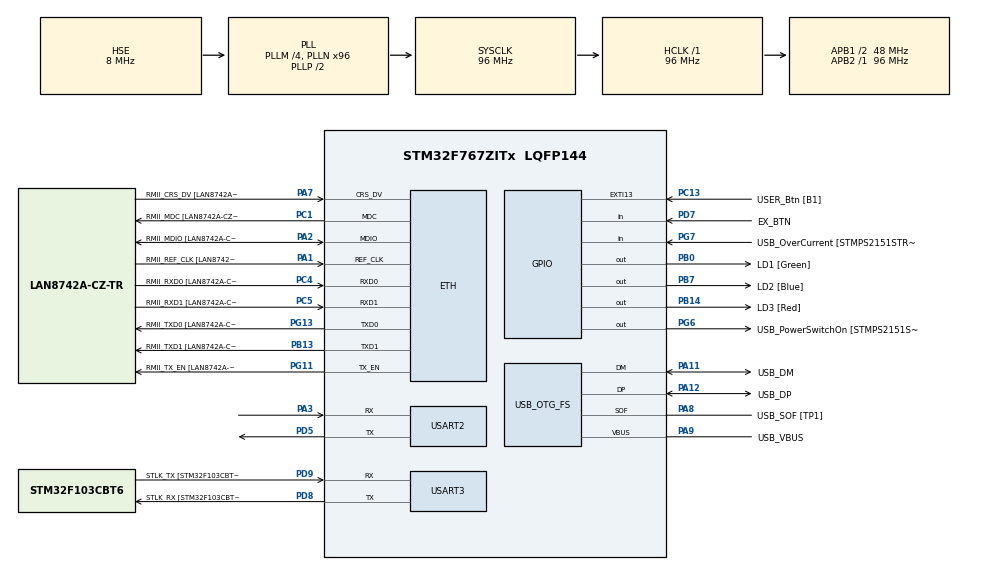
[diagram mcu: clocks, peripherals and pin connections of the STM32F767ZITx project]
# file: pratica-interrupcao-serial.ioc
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CORTEX_M7.default_mode_Activation=1
ETH.MediaInterface=HAL_ETH_RMII_MODE
ETH.PHY_Name=LAN8742A_PHY_ADDRESS
ETH.PHY_Value=0
ETH.PhyAddress=0
Mcu.Family=STM32F7
Mcu.Name=STM32F767ZITx
Mcu.Package=LQFP144
NVIC.PriorityGroup=NVIC_PRIORITYGROUP_4
PA1.GPIO_Label=RMII_REF_CLK [LAN8742A-CZ-TR_REFCLK0]
PA1.Mode=RMII
PA1.Signal=ETH_REF_CLK
PA10.GPIO_Label=USB_ID
PA10.Signal=USB_OTG_FS_ID
PA11.GPIO_Label=USB_DM
PA11.Mode=Device_Only
PA11.Signal=USB_OTG_FS_DM
PA12.GPIO_Label=USB_DP
PA12.Mode=Device_Only
PA12.Signal=USB_OTG_FS_DP
PA13.GPIO_Label=TMS
PA13.Mode=Serial_Wire
PA13.Signal=SYS_JTMS-SWDIO
PA14.GPIO_Label=TCK
PA14.Mode=Serial_Wire
PA14.Signal=SYS_JTCK-SWCLK
PA2.GPIO_Label=RMII_MDIO [LAN8742A-CZ-TR_MDIO]
PA2.Mode=RMII
PA2.Signal=ETH_MDIO
PA3.Mode=Asynchronous
PA3.Signal=USART2_RX
PA7.GPIO_Label=RMII_CRS_DV [LAN8742A-CZ-TR_CRS_DV]
PA7.Mode=RMII
PA7.Signal=ETH_CRS_DV
PA8.GPIO_Label=USB_SOF [TP1]
PA8.Mode=Activate_SOF_FS
PA8.Signal=USB_OTG_FS_SOF
PA9.GPIO_Label=USB_VBUS
PA9.Mode=Activate_VBUS
PA9.Signal=USB_OTG_FS_VBUS
PB0.GPIO_Label=LD1 [Green]
PB0.Signal=GPIO_Output
PB13.GPIO_Label=RMII_TXD1 [LAN8742A-CZ-TR_TXD1]
PB13.Mode=RMII
PB13.Signal=ETH_TXD1
PB14.GPIO_Label=LD3 [Red]
PB14.Signal=GPIO_Output
PB3.GPIO_Label=SWO
PB3.Signal=SYS_JTDO-SWO
PB7.GPIO_Label=LD2 [Blue]
PB7.Signal=GPIO_Output
PC1.GPIO_Label=RMII_MDC [LAN8742A-CZ-TR_MDC]
PC1.Mode=RMII
PC1.Signal=ETH_MDC
PC13.GPIO_Label=USER_Btn [B1]
PC13.Signal=GPXTI13
PC14/OSC32_IN.Mode=LSE-External-Oscillator
PC14/OSC32_IN.Signal=RCC_OSC32_IN
PC15/OSC32_OUT.Mode=LSE-External-Oscillator
PC15/OSC32_OUT.Signal=RCC_OSC32_OUT
PC4.GPIO_Label=RMII_RXD0 [LAN8742A-CZ-TR_RXD0]
PC4.Mode=RMII
PC4.Signal=ETH_RXD0
PC5.GPIO_Label=RMII_RXD1 [LAN8742A-CZ-TR_RXD1]
PC5.Mode=RMII
PC5.Signal=ETH_RXD1
PD5.Mode=Asynchronous
PD5.Signal=USART2_TX
PD7.GPIO_Label=EX_BTN
PD7.GPIO_PuPd=GPIO_PULLUP
PD7.Signal=GPIO_Input
PD8.GPIO_Label=STLK_RX [STM32F103CBT6_PA3]
PD8.Mode=Asynchronous
PD8.Signal=USART3_TX
PD9.GPIO_Label=STLK_TX [STM32F103CBT6_PA2]
PD9.Mode=Asynchronous
PD9.Signal=USART3_RX
PG11.GPIO_Label=RMII_TX_EN [LAN8742A-CZ-TR_TXEN]
PG11.Mode=RMII
PG11.Signal=ETH_TX_EN
PG13.GPIO_Label=RMII_TXD0 [LAN8742A-CZ-TR_TXD0]
PG13.Mode=RMII
PG13.Signal=ETH_TXD0
PG6.GPIO_Label=USB_PowerSwitchOn [STMPS2151STR_EN]
PG6.Signal=GPIO_Output
PG7.GPIO_Label=USB_OverCurrent [STMPS2151STR_FAULT]
PG7.Signal=GPIO_Input
PH0/OSC_IN.GPIO_Label=MCO [STM32F103CBT6_PA8]
PH0/OSC_IN.Mode=HSE-External-Clock-Source
PH0/OSC_IN.Signal=RCC_OSC_IN
PH1/OSC_OUT.Mode=HSE-External-Clock-Source
PH1/OSC_OUT.Signal=RCC_OSC_OUT
ProjectManager.HeapSize=0x200
ProjectManager.StackSize=0x400
ProjectManager.TargetToolchain=STM32CubeIDE
RCC.48MHZClocksFreq_Value=24000000
RCC.AHBFreq_Value=96000000
RCC.APB1CLKDivider=RCC_HCLK_DIV2
RCC.APB1Freq_Value=48000000
RCC.APB1TimFreq_Value=96000000
RCC.APB2Freq_Value=96000000
RCC.APB2TimFreq_Value=96000000
RCC.CortexFreq_Value=96000000
RCC.HCLKFreq_Value=96000000
RCC.HSE_VALUE=8000000
RCC.HSI_VALUE=16000000
RCC.PLLM=4
RCC.PLLMUL=RCC_PLL_MUL9
RCC.PLLN=96
RCC.PLLQ=4
RCC.PRESCALERUSB=RCC_USBCLKSOURCE_PLL_DIV1_5
RCC.SYSCLKFreq_VALUE=96000000
RCC.SYSCLKSource=RCC_SYSCLKSOURCE_PLLCLK
RCC.SYSCLKSourceVirtual=RCC_SYSCLKSOURCE_PLLCLK
RCC.USBFreq_Value=48000000
RCC.VCOOutputFreq_Value=192000000
USART2.VirtualMode-Asynchronous=VM_ASYNC
USART3.VirtualMode-Asynchronous=VM_ASYNC
USB_OTG_FS.VirtualMode=Device_Only
board=NUCLEO-F767ZI

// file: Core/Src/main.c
/* USER CODE BEGIN Header */
/**
  ******************************************************************************
  * @file           : main.c
  * @brief          : Main program body
  ******************************************************************************
  * @attention
  *
  * Copyright (c) 2026 STMicroelectronics.
  * All rights reserved.
  *
  * This software is licensed under terms that can be found in the LICENSE file
  * in the root directory of this software component.
  * If no LICENSE file comes with this software, it is provided AS-IS.
  *
  ******************************************************************************
  */
/* USER CODE END Header */
#include "main.h"
#include "string.h"

/* USER CODE BEGIN Includes */
#include "serial_protocol.h"
/* USER CODE END Includes */

#if defined ( __ICCARM__ ) /*!< IAR Compiler */
#pragma location=0x2007c000
ETH_DMADescTypeDef  DMARxDscrTab[ETH_RX_DESC_CNT]; /* Ethernet Rx DMA Descriptors */
#pragma location=0x2007c0a0
ETH_DMADescTypeDef  DMATxDscrTab[ETH_TX_DESC_CNT]; /* Ethernet Tx DMA Descriptors */

#elif defined ( __CC_ARM )  /* MDK ARM Compiler */

__attribute__((at(0x2007c000))) ETH_DMADescTypeDef  DMARxDscrTab[ETH_RX_DESC_CNT]; /* Ethernet Rx DMA Descriptors */
__attribute__((at(0x2007c0a0))) ETH_DMADescTypeDef  DMATxDscrTab[ETH_TX_DESC_CNT]; /* Ethernet Tx DMA Descriptors */

#elif defined ( __GNUC__ ) /* GNU Compiler */

ETH_DMADescTypeDef DMARxDscrTab[ETH_RX_DESC_CNT] __attribute__((section(".RxDecripSection"))); /* Ethernet Rx DMA Descriptors */
ETH_DMADescTypeDef DMATxDscrTab[ETH_TX_DESC_CNT] __attribute__((section(".TxDecripSection")));   /* Ethernet Tx DMA Descriptors */
#endif

ETH_TxPacketConfig TxConfig;

ETH_HandleTypeDef heth;

UART_HandleTypeDef huart2;
UART_HandleTypeDef huart3;

PCD_HandleTypeDef hpcd_USB_OTG_FS;

void SystemClock_Config(void);
static void MPU_Config(void);
static void MX_GPIO_Init(void);
static void MX_ETH_Init(void);
static void MX_USART3_UART_Init(void);
static void MX_USB_OTG_FS_PCD_Init(void);
static void MX_USART2_UART_Init(void);
/* USER CODE BEGIN PFP */
uint8_t envia_cmd(uint8_t dado);
/* USER CODE END PFP */

int main(void)
{

  /* MPU Configuration--------------------------------------------------------*/
  MPU_Config();

  /* MCU Configuration--------------------------------------------------------*/

  /* Reset of all peripherals, Initializes the Flash interface and the Systick. */
  HAL_Init();

  /* Configure the system clock */
  SystemClock_Config();

  /* Initialize all configured peripherals */
  MX_GPIO_Init();
  MX_ETH_Init();
  MX_USART3_UART_Init();
  MX_USB_OTG_FS_PCD_Init();
  MX_USART2_UART_Init();
  /* USER CODE BEGIN 2 */
  // Variaveis para guardar o estado dos botoes (0 = solto, 1 = pressionado)
  uint8_t estado_btn_user = 0;
  uint8_t estado_btn_ext = 0;

  // Variaveis para guardar a referencia de tempo (ms) para debounce nao-bloqueante
  uint32_t tempo_btn_user = 0;
  uint32_t tempo_btn_ext = 0;
  /* USER CODE END 2 */

  /* Infinite loop */
  /* USER CODE BEGIN WHILE */
  while (1)
  {
    // Limpa a flag de Overrun Error se tiver ocorrido (evita travamento de recepcao da USART)
    if (__HAL_UART_GET_FLAG(&huart2, UART_FLAG_ORE))
    {
        __HAL_UART_CLEAR_OREFLAG(&huart2);
    }

    // 1. Recebimento Serial USART2 (via flag RXNE, sem interrupcao)
    if (__HAL_UART_GET_FLAG(&huart2, UART_FLAG_RXNE))
    {
        uint8_t recebido = (uint8_t)(huart2.Instance->RDR & 0xFF);
        uint8_t ack = 0;
        ProtocolAction action = process_received_byte(recebido, &ack);

        if (action == ACTION_TOGGLE_LD1)
        {
            // Envia byte de ACK de volta
            HAL_UART_Transmit(&huart2, &ack, 1, 10);
            // Alterna LD1 (Verde)
            HAL_GPIO_TogglePin(LD1_GPIO_Port, LD1_Pin);
        }
        else if (action == ACTION_TOGGLE_LD2)
        {
            // Envia byte de ACK de volta
            HAL_UART_Transmit(&huart2, &ack, 1, 10);
            // Alterna LD2 (Azul)
            HAL_GPIO_TogglePin(LD2_GPIO_Port, LD2_Pin);
        }
    }

    // 2. Verifica o Botao de Usuario (PC13 - ALTO quando pressionado)
    if (HAL_GPIO_ReadPin(USER_Btn_GPIO_Port, USER_Btn_Pin) == GPIO_PIN_SET)
    {
        if (estado_btn_user == 0 && (HAL_GetTick() - tempo_btn_user > 100))
        {
            estado_btn_user = 1;
            tempo_btn_user = HAL_GetTick();

            if (!envia_cmd(CMD_USER_BTN))
            {
                // FALHA DE HANDSHAKE: Alterna o proprio LD1 local
                HAL_GPIO_TogglePin(LD1_GPIO_Port, LD1_Pin);
            }
        }
    }
    else
    {
        if (estado_btn_user == 1 && (HAL_GetTick() - tempo_btn_user > 100))
        {
            estado_btn_user = 0;
            tempo_btn_user = HAL_GetTick();
        }
    }

    // 3. Verifica o Botao Externo (PD7 / EX_BTN - BAIXO quando pressionado devido ao pull-up)
    if (HAL_GPIO_ReadPin(EX_BTN_GPIO_Port, EX_BTN_Pin) == GPIO_PIN_RESET)
    {
        if (estado_btn_ext == 0 && (HAL_GetTick() - tempo_btn_ext > 100))
        {
            estado_btn_ext = 1;
            tempo_btn_ext = HAL_GetTick();

            if (!envia_cmd(CMD_EXT_BTN))
            {
                // FALHA DE HANDSHAKE: Alterna o proprio LD2 local
                HAL_GPIO_TogglePin(LD2_GPIO_Port, LD2_Pin);
            }
        }
    }
    else
    {
        if (estado_btn_ext == 1 && (HAL_GetTick() - tempo_btn_ext > 100))
        {
            estado_btn_ext = 0;
            tempo_btn_ext = HAL_GetTick();
        }
    }
    /* USER CODE END WHILE */

  }
}

void SystemClock_Config(void)
{
  RCC_OscInitTypeDef RCC_OscInitStruct = {0};
  RCC_ClkInitTypeDef RCC_ClkInitStruct = {0};

  /** Configure LSE Drive Capability
  */
  HAL_PWR_EnableBkUpAccess();

  /** Configure the main internal regulator output voltage
  */
  __HAL_RCC_PWR_CLK_ENABLE();
  __HAL_PWR_VOLTAGESCALING_CONFIG(PWR_REGULATOR_VOLTAGE_SCALE3);

  /** Initializes the RCC Oscillators according to the specified parameters
  * in the RCC_OscInitTypeDef structure.
  */
  RCC_OscInitStruct.OscillatorType = RCC_OSCILLATORTYPE_HSE;
  RCC_OscInitStruct.HSEState = RCC_HSE_BYPASS;
  RCC_OscInitStruct.PLL.PLLState = RCC_PLL_ON;
  RCC_OscInitStruct.PLL.PLLSource = RCC_PLLSOURCE_HSE;
  RCC_OscInitStruct.PLL.PLLM = 4;
  RCC_OscInitStruct.PLL.PLLN = 96;
  RCC_OscInitStruct.PLL.PLLP = RCC_PLLP_DIV2;
  RCC_OscInitStruct.PLL.PLLQ = 4;
  RCC_OscInitStruct.PLL.PLLR = 2;
  if (HAL_RCC_OscConfig(&RCC_OscInitStruct) != HAL_OK)
  {
    Error_Handler();
  }

  /** Activate the Over-Drive mode
  */
  if (HAL_PWREx_EnableOverDrive() != HAL_OK)
  {
    Error_Handler();
  }

  /** Initializes the CPU, AHB and APB buses clocks
  */
  RCC_ClkInitStruct.ClockType = RCC_CLOCKTYPE_HCLK|RCC_CLOCKTYPE_SYSCLK
                              |RCC_CLOCKTYPE_PCLK1|RCC_CLOCKTYPE_PCLK2;
  RCC_ClkInitStruct.SYSCLKSource = RCC_SYSCLKSOURCE_PLLCLK;
  RCC_ClkInitStruct.AHBCLKDivider = RCC_SYSCLK_DIV1;
  RCC_ClkInitStruct.APB1CLKDivider = RCC_HCLK_DIV2;
  RCC_ClkInitStruct.APB2CLKDivider = RCC_HCLK_DIV1;

  if (HAL_RCC_ClockConfig(&RCC_ClkInitStruct, FLASH_LATENCY_3) != HAL_OK)
  {
    Error_Handler();
  }
}

static void MX_ETH_Init(void)
{

   static uint8_t MACAddr[6];

  heth.Instance = ETH;
  MACAddr[0] = 0x00;
  MACAddr[1] = 0x80;
  MACAddr[2] = 0xE1;
  MACAddr[3] = 0x00;
  MACAddr[4] = 0x00;
  MACAddr[5] = 0x00;
  heth.Init.MACAddr = &MACAddr[0];
  heth.Init.MediaInterface = HAL_ETH_RMII_MODE;
  heth.Init.TxDesc = DMATxDscrTab;
  heth.Init.RxDesc = DMARxDscrTab;
  heth.Init.RxBuffLen = 1524;

  if (HAL_ETH_Init(&heth) != HAL_OK)
  {
    Error_Handler();
  }

  memset(&TxConfig, 0 , sizeof(ETH_TxPacketConfig));
  TxConfig.Attributes = ETH_TX_PACKETS_FEATURES_CSUM | ETH_TX_PACKETS_FEATURES_CRCPAD;
  TxConfig.ChecksumCtrl = ETH_CHECKSUM_IPHDR_PAYLOAD_INSERT_PHDR_CALC;
  TxConfig.CRCPadCtrl = ETH_CRC_PAD_INSERT;

}

static void MX_USART2_UART_Init(void)
{

  huart2.Instance = USART2;
  huart2.Init.BaudRate = 115200;
  huart2.Init.WordLength = UART_WORDLENGTH_8B;
  huart2.Init.StopBits = UART_STOPBITS_1;
  huart2.Init.Parity = UART_PARITY_NONE;
  huart2.Init.Mode = UART_MODE_TX_RX;
  huart2.Init.HwFlowCtl = UART_HWCONTROL_NONE;
  huart2.Init.OverSampling = UART_OVERSAMPLING_16;
  huart2.Init.OneBitSampling = UART_ONE_BIT_SAMPLE_DISABLE;
  huart2.AdvancedInit.AdvFeatureInit = UART_ADVFEATURE_NO_INIT;
  if (HAL_UART_Init(&huart2) != HAL_OK)
  {
    Error_Handler();
  }

}

static void MX_USART3_UART_Init(void)
{

  huart3.Instance = USART3;
  huart3.Init.BaudRate = 115200;
  huart3.Init.WordLength = UART_WORDLENGTH_8B;
  huart3.Init.StopBits = UART_STOPBITS_1;
  huart3.Init.Parity = UART_PARITY_NONE;
  huart3.Init.Mode = UART_MODE_TX_RX;
  huart3.Init.HwFlowCtl = UART_HWCONTROL_NONE;
  huart3.Init.OverSampling = UART_OVERSAMPLING_16;
  huart3.Init.OneBitSampling = UART_ONE_BIT_SAMPLE_DISABLE;
  huart3.AdvancedInit.AdvFeatureInit = UART_ADVFEATURE_NO_INIT;
  if (HAL_UART_Init(&huart3) != HAL_OK)
  {
    Error_Handler();
  }

}

static void MX_USB_OTG_FS_PCD_Init(void)
{

  hpcd_USB_OTG_FS.Instance = USB_OTG_FS;
  hpcd_USB_OTG_FS.Init.dev_endpoints = 6;
  hpcd_USB_OTG_FS.Init.speed = PCD_SPEED_FULL;
  hpcd_USB_OTG_FS.Init.dma_enable = DISABLE;
  hpcd_USB_OTG_FS.Init.phy_itface = PCD_PHY_EMBEDDED;
  hpcd_USB_OTG_FS.Init.Sof_enable = ENABLE;
  hpcd_USB_OTG_FS.Init.low_power_enable = DISABLE;
  hpcd_USB_OTG_FS.Init.lpm_enable = DISABLE;
  hpcd_USB_OTG_FS.Init.vbus_sensing_enable = ENABLE;
  hpcd_USB_OTG_FS.Init.use_dedicated_ep1 = DISABLE;
  if (HAL_PCD_Init(&hpcd_USB_OTG_FS) != HAL_OK)
  {
    Error_Handler();
  }

}

static void MX_GPIO_Init(void)
{
  GPIO_InitTypeDef GPIO_InitStruct = {0};

  /* GPIO Ports Clock Enable */
  __HAL_RCC_GPIOC_CLK_ENABLE();
  __HAL_RCC_GPIOH_CLK_ENABLE();
  __HAL_RCC_GPIOA_CLK_ENABLE();
  __HAL_RCC_GPIOB_CLK_ENABLE();
  __HAL_RCC_GPIOD_CLK_ENABLE();
  __HAL_RCC_GPIOG_CLK_ENABLE();

  /*Configure GPIO pin Output Level */
  HAL_GPIO_WritePin(GPIOB, LD1_Pin|LD3_Pin|LD2_Pin, GPIO_PIN_RESET);

  /*Configure GPIO pin Output Level */
  HAL_GPIO_WritePin(USB_PowerSwitchOn_GPIO_Port, USB_PowerSwitchOn_Pin, GPIO_PIN_RESET);

  /*Configure GPIO pin : USER_Btn_Pin */
  GPIO_InitStruct.Pin = USER_Btn_Pin;
  GPIO_InitStruct.Mode = GPIO_MODE_IT_RISING;
  GPIO_InitStruct.Pull = GPIO_NOPULL;
  HAL_GPIO_Init(USER_Btn_GPIO_Port, &GPIO_InitStruct);

  /*Configure GPIO pins : LD1_Pin LD3_Pin LD2_Pin */
  GPIO_InitStruct.Pin = LD1_Pin|LD3_Pin|LD2_Pin;
  GPIO_InitStruct.Mode = GPIO_MODE_OUTPUT_PP;
  GPIO_InitStruct.Pull = GPIO_NOPULL;
  GPIO_InitStruct.Speed = GPIO_SPEED_FREQ_LOW;
  HAL_GPIO_Init(GPIOB, &GPIO_InitStruct);

  /*Configure GPIO pin : USB_PowerSwitchOn_Pin */
  GPIO_InitStruct.Pin = USB_PowerSwitchOn_Pin;
  GPIO_InitStruct.Mode = GPIO_MODE_OUTPUT_PP;
  GPIO_InitStruct.Pull = GPIO_NOPULL;
  GPIO_InitStruct.Speed = GPIO_SPEED_FREQ_LOW;
  HAL_GPIO_Init(USB_PowerSwitchOn_GPIO_Port, &GPIO_InitStruct);

  /*Configure GPIO pin : USB_OverCurrent_Pin */
  GPIO_InitStruct.Pin = USB_OverCurrent_Pin;
  GPIO_InitStruct.Mode = GPIO_MODE_INPUT;
  GPIO_InitStruct.Pull = GPIO_NOPULL;
  HAL_GPIO_Init(USB_OverCurrent_GPIO_Port, &GPIO_InitStruct);

  /*Configure GPIO pin : EX_BTN_Pin */
  GPIO_InitStruct.Pin = EX_BTN_Pin;
  GPIO_InitStruct.Mode = GPIO_MODE_INPUT;
  GPIO_InitStruct.Pull = GPIO_PULLUP;
  HAL_GPIO_Init(EX_BTN_GPIO_Port, &GPIO_InitStruct);

}

/* USER CODE BEGIN 4 */
uint8_t envia_cmd(uint8_t dado)
{
    // Transmite o byte via USART2
    HAL_UART_Transmit(&huart2, &dado, 1, 10);

    // Aguarda o ACK com timeout de 50 ms
    uint32_t start_tick = HAL_GetTick();
    while ((HAL_GetTick() - start_tick) < 50)
    {
        // Se houver erro de overrun, limpa a flag
        if (__HAL_UART_GET_FLAG(&huart2, UART_FLAG_ORE))
        {
            __HAL_UART_CLEAR_OREFLAG(&huart2);
        }

        if (__HAL_UART_GET_FLAG(&huart2, UART_FLAG_RXNE))
        {
            uint8_t resposta = (uint8_t)(huart2.Instance->RDR & 0xFF);
            if (resposta == ACK_BYTE)
            {
                return 1; // Handshake bem-sucedido
            }
        }
    }

    return 0; // Timeout: falha de handshake
}
/* USER CODE END 4 */

 /* MPU Configuration */

void MPU_Config(void)
{
  MPU_Region_InitTypeDef MPU_InitStruct = {0};

  /* Disables the MPU */
  HAL_MPU_Disable();

  /** Initializes and configures the Region and the memory to be protected
  */
  MPU_InitStruct.Enable = MPU_REGION_ENABLE;
  MPU_InitStruct.Number = MPU_REGION_NUMBER0;
  MPU_InitStruct.BaseAddress = 0x0;
  MPU_InitStruct.Size = MPU_REGION_SIZE_4GB;
  MPU_InitStruct.SubRegionDisable = 0x87;
  MPU_InitStruct.TypeExtField = MPU_TEX_LEVEL0;
  MPU_InitStruct.AccessPermission = MPU_REGION_NO_ACCESS;
  MPU_InitStruct.DisableExec = MPU_INSTRUCTION_ACCESS_DISABLE;
  MPU_InitStruct.IsShareable = MPU_ACCESS_SHAREABLE;
  MPU_InitStruct.IsCacheable = MPU_ACCESS_NOT_CACHEABLE;
  MPU_InitStruct.IsBufferable = MPU_ACCESS_NOT_BUFFERABLE;

  HAL_MPU_ConfigRegion(&MPU_InitStruct);
  /* Enables the MPU */
  HAL_MPU_Enable(MPU_PRIVILEGED_DEFAULT);

}

void Error_Handler(void)
{
  __disable_irq();
  while (1)
  {
  }
}
